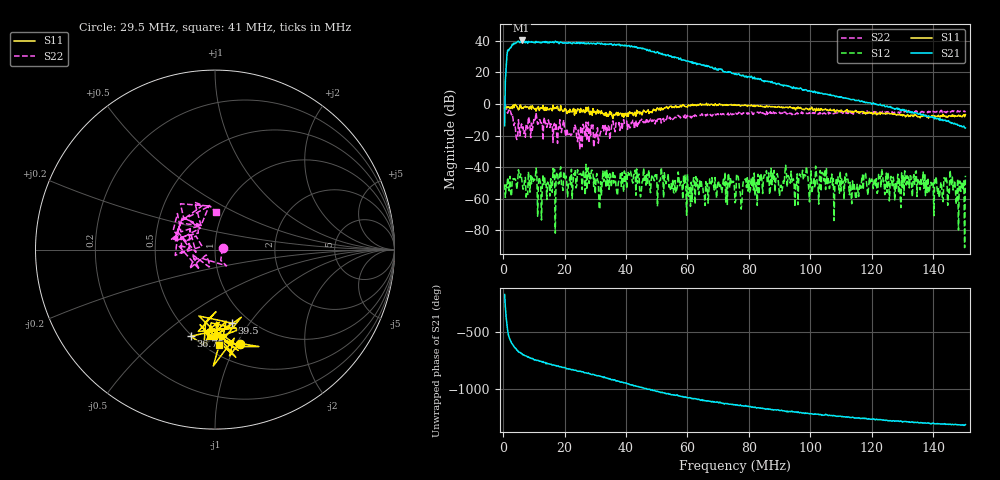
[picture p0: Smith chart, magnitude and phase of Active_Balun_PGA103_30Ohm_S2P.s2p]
!Keysight Technologies N9926A: A.10.18
!Date: Saturday, 25 July 2020 18:31:16
!Timezone:
!Model: N9926A
!Serial: MY57271140
!GPS Latitude:
!GPS Longitude:
!GPS TimeStamp: 0001-01-01 00:00:00Z
!GPS Seconds Since Last Read: 0
!CHECKSUM:0284326131
!Correction: S11(ON U)S21(ON U)S12(ON U)S22(ON U)
!S2P File: Measurements:S11,S21,S12,S22:
# Hz S DB R 50
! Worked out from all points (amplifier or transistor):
!   601 points, 500 kHz to 150.5 MHz, reference 50 ohm
!   highest |S21| = 40.1 dB at 6 MHz (marker M1)
!   |S21| within 3 dB of that: 2.884 MHz to 35.68 MHz (32.79 MHz wide, 170 % of centre)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
!   unconditionally stable (mu >= 1): 35.79 MHz to 39.48 MHz; 53.28 MHz to 57.71 MHz; 74.35 MHz to end of sweep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
!   at 25.5 MHz: K = 0.85, MSG = 41.7 dB, |S12| = -44.8 dB
!   at 75.5 MHz: K = 11.47, MAG = 26.9 dB, |S12| = -62.5 dB
!   at 150.5 MHz: K = 299.91, MAG = -12.7 dB, |S12| = -45.4 dB
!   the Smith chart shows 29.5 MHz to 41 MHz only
!   S11 on the Smith chart (normalised r, x): 29.5 MHz: 0.70, -1.04; 36.75 MHz: 0.49, -0.63; 39.5 MHz: 0.83, -0.83; 41 MHz: 0.58, -0.86
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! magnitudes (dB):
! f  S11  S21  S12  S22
! 500 kHz  -2.6  -13.8  -50.9  -0.8
! 2 MHz  -1.9  34.5  -55.0  -3.9
! 6 MHz  -2.9  40.1  -46.4  -12.7
! 10.25 MHz  -3.2  38.9  -48.1  -11.3
! 12 MHz  -3.4  39.0  -48.6  -10.0
! 25.5 MHz  -4.4  38.7  -44.8  -20.9
! 29.5 MHz  -5.3  38.3  -52.2  -27.4
! 31.5 MHz  -5.2  38.3  -66.6  -19.8
! 33 MHz  -6.0  37.9  -45.6  -13.0
! 36.75 MHz  -6.0  37.1  -52.1  -12.0
! 39.5 MHz  -7.5  37.1  -42.4  -12.2
! 41 MHz  -5.5  37.0  -45.2  -13.6
! 50.5 MHz  -3.2  32.5  -50.6  -9.6
! 75.5 MHz  -0.9  18.5  -62.5  -7.1
! 85.75 MHz  -1.3  14.4  -42.1  -4.9
! 90.5 MHz  -2.3  12.0  -51.4  -6.1
! 92.5 MHz  -2.0  11.3  -52.5  -6.4
! 95.5 MHz  -2.5  10.1  -51.5  -6.0
! 98.25 MHz  -3.3  9.0  -44.8  -5.4
! 100.5 MHz  -2.1  8.0  -56.4  -6.3
! 125.5 MHz  -6.1  -2.1  -46.7  -5.6
! 150.5 MHz  -6.8  -15.2  -45.4  -5.3
